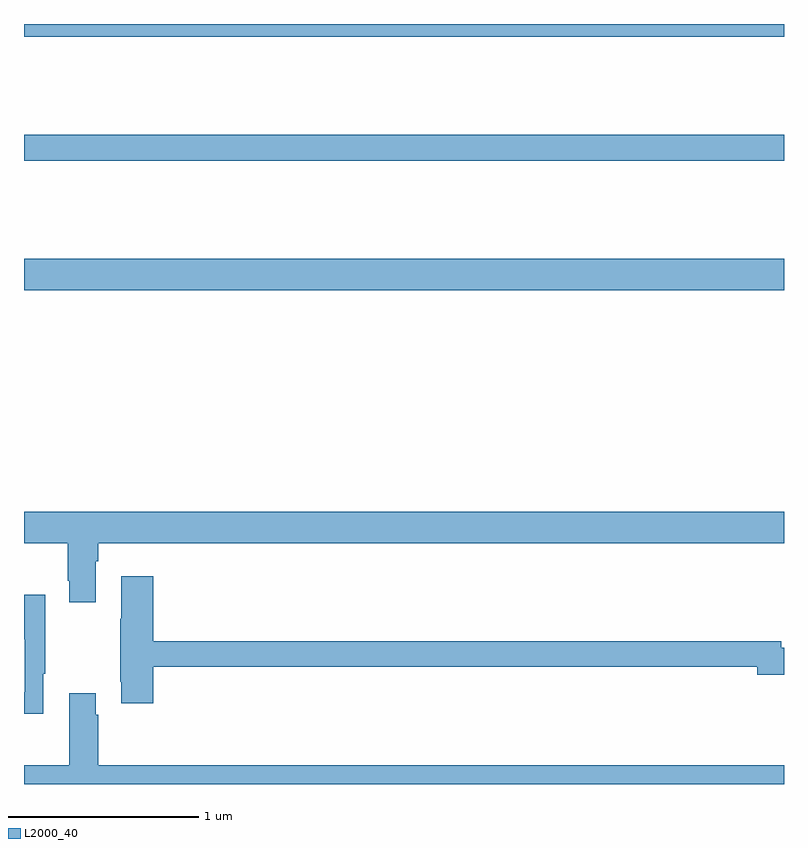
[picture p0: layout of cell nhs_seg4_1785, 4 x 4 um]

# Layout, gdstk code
import gdstk
lib = gdstk.Library(unit=1e-6, precision=1e-09)
def R(c, l, rs):  # rectangles x0, y0, x1, y1
    for r in rs: c.add(gdstk.rectangle(r[:2], r[2:], *l))
def P(c, l, *ps):  # polygons
    for p in ps: c.add(gdstk.Polygon(p, *l))
L2000_40 = (2000, 40)

nhs_seg4_1785 = lib.new_cell('nhs_seg4_1785')
R(nhs_seg4_1785, L2000_40, [(203,783.5,207,783.664), (203,784.18,207,784.316), (203,784.832,207,784.9)])
P(nhs_seg4_1785, L2000_40, [(203.377,782.072),(203.39,782.072),(203.39,782.168),(207,782.168),(207,782.332),(203,782.332),(203,782.168),(203.23,782.168),(203.23,781.969),(203.237,781.969),(203.237,781.857),(203.377,781.857)],
  [(203.681,781.516),(206.858,781.516),(206.858,781.474),(207,781.474),(207,781.616),(206.986,781.616),(206.986,781.652),(203.681,781.652),(203.681,781.993),(203.513,781.993),(203.513,781.769),(203.506,781.769),(203.506,781.438),(203.513,781.438),(203.513,781.326),(203.681,781.326)],
  [(203.101,781.481),(203.113,781.481),(203.113,781.897),(203,781.897),(203,781.661),(203.004,781.661),(203.004,781.382),(203,781.382),(203,781.269),(203.101,781.269)],
  [(207,781),(203.39,781),(203.39,781.265),(203.377,781.265),(203.377,781.378),(203.237,781.378),(203.237,781),(203,781),(203,780.9),(207,780.9)])

lib.write_gds('nhs_seg4_1785.gds')
